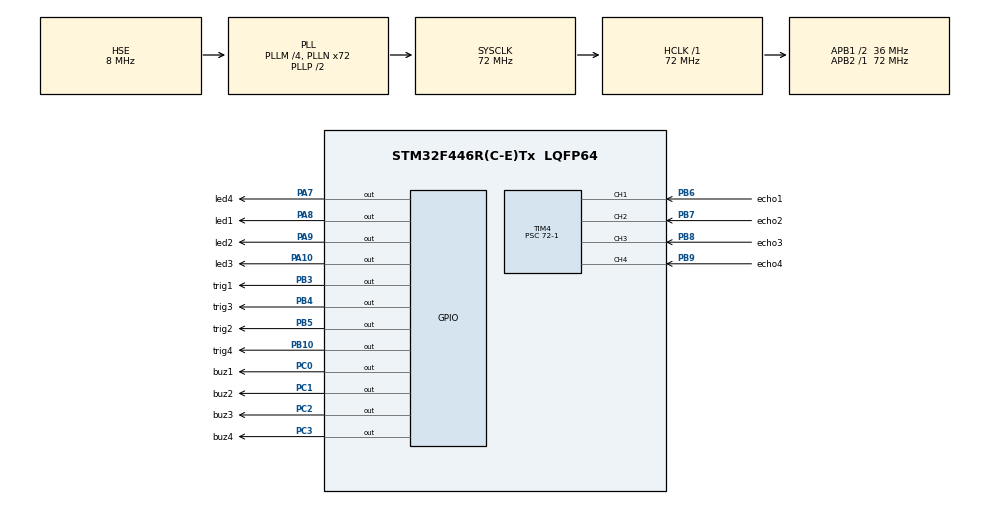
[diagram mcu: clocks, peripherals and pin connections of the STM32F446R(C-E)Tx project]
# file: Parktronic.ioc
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Mcu.Family=STM32F4
Mcu.Name=STM32F446R(C-E)Tx
Mcu.Package=LQFP64
NVIC.PriorityGroup=NVIC_PRIORITYGROUP_4
NVIC.TIM1_BRK_TIM9_IRQn=true\:0\:0\:false\:false\:true\:true\:true
NVIC.TIM1_CC_IRQn=true\:0\:0\:false\:false\:true\:true\:true
NVIC.TIM1_TRG_COM_TIM11_IRQn=true\:0\:0\:false\:false\:true\:true\:true
NVIC.TIM1_UP_TIM10_IRQn=true\:0\:0\:false\:false\:true\:true\:true
NVIC.TIM4_IRQn=true\:0\:0\:false\:false\:true\:true\:true
PA10.GPIO_Label=led3
PA10.GPIO_PuPd=GPIO_PULLUP
PA10.GPIO_Speed=GPIO_SPEED_FREQ_VERY_HIGH
PA10.PinState=GPIO_PIN_RESET
PA10.Signal=GPIO_Output
PA7.GPIO_Label=led4
PA7.GPIO_PuPd=GPIO_PULLUP
PA7.GPIO_Speed=GPIO_SPEED_FREQ_VERY_HIGH
PA7.PinState=GPIO_PIN_RESET
PA7.Signal=GPIO_Output
PA8.GPIO_Label=led1
PA8.GPIO_PuPd=GPIO_PULLUP
PA8.GPIO_Speed=GPIO_SPEED_FREQ_VERY_HIGH
PA8.PinState=GPIO_PIN_RESET
PA8.Signal=GPIO_Output
PA9.GPIO_Label=led2
PA9.GPIO_PuPd=GPIO_PULLUP
PA9.GPIO_Speed=GPIO_SPEED_FREQ_VERY_HIGH
PA9.PinState=GPIO_PIN_RESET
PA9.Signal=GPIO_Output
PB10.GPIO_Label=trig4
PB10.Signal=GPIO_Output
PB3.GPIO_Label=trig1
PB3.Signal=GPIO_Output
PB4.GPIO_Label=trig3
PB4.Signal=GPIO_Output
PB5.GPIO_Label=trig2
PB5.Signal=GPIO_Output
PB6.GPIO_Label=echo1
PB6.Signal=S_TIM4_CH1
PB7.GPIO_Label=echo2
PB7.Signal=S_TIM4_CH2
PB8.GPIO_Label=echo3
PB8.Signal=S_TIM4_CH3
PB9.GPIO_Label=echo4
PB9.Signal=S_TIM4_CH4
PC0.GPIO_Label=buz1
PC0.GPIO_PuPd=GPIO_PULLUP
PC0.PinState=GPIO_PIN_SET
PC0.Signal=GPIO_Output
PC1.GPIO_Label=buz2
PC1.GPIO_PuPd=GPIO_PULLUP
PC1.PinState=GPIO_PIN_SET
PC1.Signal=GPIO_Output
PC2.GPIO_Label=buz3
PC2.GPIO_PuPd=GPIO_PULLUP
PC2.PinState=GPIO_PIN_SET
PC2.Signal=GPIO_Output
PC3.GPIO_Label=buz4
PC3.GPIO_PuPd=GPIO_PULLUP
PC3.PinState=GPIO_PIN_SET
PC3.Signal=GPIO_Output
PH0-OSC_IN.Mode=HSE-External-Oscillator
PH0-OSC_IN.Signal=RCC_OSC_IN
PH1-OSC_OUT.Mode=HSE-External-Oscillator
PH1-OSC_OUT.Signal=RCC_OSC_OUT
ProjectManager.HeapSize=0x200
ProjectManager.StackSize=0x400
ProjectManager.TargetToolchain=TrueSTUDIO
RCC.AHBFreq_Value=72000000
RCC.APB1CLKDivider=RCC_HCLK_DIV2
RCC.APB1Freq_Value=36000000
RCC.APB1TimFreq_Value=72000000
RCC.APB2Freq_Value=72000000
RCC.APB2TimFreq_Value=72000000
RCC.CortexFreq_Value=72000000
RCC.HCLKFreq_Value=72000000
RCC.HSE_VALUE=8000000
RCC.PLLM=4
RCC.PLLN=72
RCC.PLLSourceVirtual=RCC_PLLSOURCE_HSE
RCC.SYSCLKFreq_VALUE=72000000
RCC.SYSCLKSource=RCC_SYSCLKSOURCE_PLLCLK
RCC.USBFreq_Value=72000000
RCC.VCOOutputFreq_Value=144000000
SH.S_TIM4_CH1.0=TIM4_CH1,Input_Capture1_from_TI1
SH.S_TIM4_CH2.0=TIM4_CH2,Input_Capture2_from_TI2
SH.S_TIM4_CH3.0=TIM4_CH3,Input_Capture3_from_TI3
SH.S_TIM4_CH4.0=TIM4_CH4,Input_Capture4_from_TI4
TIM1.Period=100-1
TIM1.Prescaler=8-1
TIM4.Channel-Input_Capture1_from_TI1=TIM_CHANNEL_1
TIM4.Channel-Input_Capture2_from_TI2=TIM_CHANNEL_2
TIM4.Channel-Input_Capture3_from_TI3=TIM_CHANNEL_3
TIM4.Channel-Input_Capture4_from_TI4=TIM_CHANNEL_4
TIM4.ICFilter_CH2=0
TIM4.ICFilter_CH3=0
TIM4.ICFilter_CH4=0
TIM4.Prescaler=72-1
VP_TIM1_VS_ClockSourceINT.Mode=Internal
board=custom

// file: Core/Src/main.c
/* USER CODE BEGIN Header */
/**
 ******************************************************************************
 * @file           : main.c
 * @brief          : Main program body
 ******************************************************************************
 * @attention
 *
 * <h2><center>&copy; Copyright (c) 2021 STMicroelectronics.
 * All rights reserved.</center></h2>
 *
 * This software component is licensed by ST under BSD 3-Clause license,
 * the "License"; You may not use this file except in compliance with the
 * License. You may obtain a copy of the License at:
 *                        opensource.org/licenses/BSD-3-Clause
 *
 ******************************************************************************
 */
/* USER CODE END Header */
#include "main.h"
#include "tim.h"
#include "gpio.h"

/* USER CODE BEGIN PD */
#define COUNT_PLACE 4
#define PLACE_FREE  4
#define TIME        1000
/* USER CODE END PD */

/* USER CODE BEGIN PV */
uint8_t TriggerEdge = 0;
uint8_t TimeEllapsed_Flag = 0;
uint8_t CaptureIsOver_Flag = 0;

uint32_t Difference = 0;
uint32_t IC_Val1 = 0;
uint32_t IC_Val2 = 0;

uint8_t flag[4] = {0,0,0,0};

uint64_t tim_channal[4] = {TIM_CHANNEL_1, TIM_CHANNEL_2, TIM_CHANNEL_3, TIM_CHANNEL_4};

/* USER CODE END PV */

void SystemClock_Config(void);
/* USER CODE BEGIN PFP */
void Measure_Distance(uint32_t Distance_cm[]);
void write_handler();
/* USER CODE END PFP */

int main(void)
{
  /* USER CODE BEGIN 1 */
	uint32_t Distance[4] = {0};
  /* USER CODE END 1 */

  /* MCU Configuration--------------------------------------------------------*/

  /* Reset of all peripherals, Initializes the Flash interface and the Systick. */
  HAL_Init();

  /* Configure the system clock */
  SystemClock_Config();

  /* Initialize all configured peripherals */
  MX_GPIO_Init();
  MX_TIM1_Init();
  MX_TIM4_Init();

  /* Infinite loop */
	while (1)
	{

    /* USER CODE BEGIN 3 */
		Measure_Distance(Distance);
		if (PLACE_FREE > Distance[0] )
		{
			// busy
			HAL_GPIO_WritePin(GPIOA, led1_Pin, GPIO_PIN_RESET); // led off
			if (flag[0] == 1)
			{
				HAL_GPIO_WritePin(GPIOC, buz1_Pin, GPIO_PIN_RESET); // buzzer on
				HAL_Delay(TIME);
				HAL_GPIO_WritePin(GPIOC, buz1_Pin, GPIO_PIN_SET); // buzzer off
			}
			flag[0] = 0;
		}
		else
		{
			// free
			HAL_GPIO_WritePin(GPIOA, led1_Pin, GPIO_PIN_SET); // led on
			flag[0] = 1;
		}

		if (PLACE_FREE > Distance[1] )
		{
			// busy
			HAL_GPIO_WritePin(GPIOA, led2_Pin, GPIO_PIN_RESET); // led off
			if (flag[1] == 1)
			{
				HAL_GPIO_WritePin(GPIOC, buz2_Pin, GPIO_PIN_RESET); // buzzer on
				HAL_Delay(TIME);
				HAL_GPIO_WritePin(GPIOC, buz2_Pin, GPIO_PIN_SET); // buzzer off
			}
			flag[1] = 0;
		}
		else
		{
			// free
			HAL_GPIO_WritePin(GPIOA, led2_Pin, GPIO_PIN_SET); // led on
			flag[1] = 1;
		}

		if (PLACE_FREE > Distance[2] )
		{
			// busy
			HAL_GPIO_WritePin(GPIOA, led3_Pin, GPIO_PIN_RESET); // led off
			if (flag[2] == 1)
			{
				HAL_GPIO_WritePin(GPIOC, buz3_Pin, GPIO_PIN_RESET); // buzzer on
				HAL_Delay(TIME);
				HAL_GPIO_WritePin(GPIOC, buz3_Pin, GPIO_PIN_SET); // buzzer off
			}
			flag[2] = 0;
		}
		else
		{
			// free
			HAL_GPIO_WritePin(GPIOA, led3_Pin, GPIO_PIN_SET); // led on
			flag[2] = 1;
		}

		if (PLACE_FREE > Distance[3] )
		{
			// busy
			HAL_GPIO_WritePin(GPIOA, led4_Pin, GPIO_PIN_RESET); // led off
			if (flag[3] == 1)
			{
				HAL_GPIO_WritePin(GPIOC, buz4_Pin, GPIO_PIN_RESET); // buzzer on
				HAL_Delay(TIME);
				HAL_GPIO_WritePin(GPIOC, buz4_Pin, GPIO_PIN_SET); // buzzer off
			}
			flag[3] = 0;

		}
		else
		{
			// free
			HAL_GPIO_WritePin(GPIOA, led4_Pin, GPIO_PIN_SET); // led on
			flag[3] = 1;
		}

	}
  /* USER CODE END 3 */
}

void SystemClock_Config(void)
{
  RCC_OscInitTypeDef RCC_OscInitStruct = {0};
  RCC_ClkInitTypeDef RCC_ClkInitStruct = {0};

  /** Configure the main internal regulator output voltage
  */
  __HAL_RCC_PWR_CLK_ENABLE();
  __HAL_PWR_VOLTAGESCALING_CONFIG(PWR_REGULATOR_VOLTAGE_SCALE3);
  /** Initializes the RCC Oscillators according to the specified parameters
  * in the RCC_OscInitTypeDef structure.
  */
  RCC_OscInitStruct.OscillatorType = RCC_OSCILLATORTYPE_HSE;
  RCC_OscInitStruct.HSEState = RCC_HSE_ON;
  RCC_OscInitStruct.PLL.PLLState = RCC_PLL_ON;
  RCC_OscInitStruct.PLL.PLLSource = RCC_PLLSOURCE_HSE;
  RCC_OscInitStruct.PLL.PLLM = 4;
  RCC_OscInitStruct.PLL.PLLN = 72;
  RCC_OscInitStruct.PLL.PLLP = RCC_PLLP_DIV2;
  RCC_OscInitStruct.PLL.PLLQ = 2;
  RCC_OscInitStruct.PLL.PLLR = 2;
  if (HAL_RCC_OscConfig(&RCC_OscInitStruct) != HAL_OK)
  {
    Error_Handler();
  }
  /** Initializes the CPU, AHB and APB buses clocks
  */
  RCC_ClkInitStruct.ClockType = RCC_CLOCKTYPE_HCLK|RCC_CLOCKTYPE_SYSCLK
                              |RCC_CLOCKTYPE_PCLK1|RCC_CLOCKTYPE_PCLK2;
  RCC_ClkInitStruct.SYSCLKSource = RCC_SYSCLKSOURCE_PLLCLK;
  RCC_ClkInitStruct.AHBCLKDivider = RCC_SYSCLK_DIV1;
  RCC_ClkInitStruct.APB1CLKDivider = RCC_HCLK_DIV2;
  RCC_ClkInitStruct.APB2CLKDivider = RCC_HCLK_DIV1;

  if (HAL_RCC_ClockConfig(&RCC_ClkInitStruct, FLASH_LATENCY_2) != HAL_OK)
  {
    Error_Handler();
  }
}

/* USER CODE BEGIN 4 */
void Measure_Distance(uint32_t Distance_cm[])
{
	/*--------------------------1------------------------*/
	HAL_GPIO_WritePin(GPIOB, trig1_Pin, GPIO_PIN_SET);
	HAL_TIM_Base_Start_IT(&htim1); // 10us

	while (!TimeEllapsed_Flag)
	{
	}

	__HAL_TIM_SET_COUNTER(&htim4, 0);
	HAL_TIM_IC_Start_IT(&htim4, TIM_CHANNEL_1);

	TimeEllapsed_Flag = 0;
	HAL_GPIO_WritePin(GPIOB, trig1_Pin, GPIO_PIN_RESET);

	while (!CaptureIsOver_Flag)
	{
	}

	CaptureIsOver_Flag = 0;

	Distance_cm[0] = Difference / 58;
	HAL_Delay(20);

	/*--------------------------2------------------------*/

	HAL_GPIO_WritePin(GPIOB, trig2_Pin, GPIO_PIN_SET);
	HAL_TIM_Base_Start_IT(&htim1); // 10us

	while (!TimeEllapsed_Flag)
	{
	}

	__HAL_TIM_SET_COUNTER(&htim4, 0);
	HAL_TIM_IC_Start_IT(&htim4, TIM_CHANNEL_2);

	TimeEllapsed_Flag = 0;
	HAL_GPIO_WritePin(GPIOB, trig2_Pin, GPIO_PIN_RESET);

	while (!CaptureIsOver_Flag)
	{
	}

	CaptureIsOver_Flag = 0;

	Distance_cm[1] = Difference / 58;
	HAL_Delay(20);

	/*--------------------------3------------------------*/

	HAL_GPIO_WritePin(GPIOB, trig3_Pin, GPIO_PIN_SET);
	HAL_TIM_Base_Start_IT(&htim1); // 10us

	while (!TimeEllapsed_Flag)
	{
	}

	__HAL_TIM_SET_COUNTER(&htim4, 0);
	HAL_TIM_IC_Start_IT(&htim4, TIM_CHANNEL_3);

	TimeEllapsed_Flag = 0;
	HAL_GPIO_WritePin(GPIOB, trig3_Pin, GPIO_PIN_RESET);

	while (!CaptureIsOver_Flag)
	{
	}

	CaptureIsOver_Flag = 0;

	Distance_cm[2] = Difference / 58;
	HAL_Delay(20);

	/*--------------------------4------------------------*/

	HAL_GPIO_WritePin(GPIOB, trig4_Pin, GPIO_PIN_SET);
	HAL_TIM_Base_Start_IT(&htim1); // 10us

	while (!TimeEllapsed_Flag)
	{
	}

	__HAL_TIM_SET_COUNTER(&htim4, 0);
	HAL_TIM_IC_Start_IT(&htim4, TIM_CHANNEL_4);

	TimeEllapsed_Flag = 0;
	HAL_GPIO_WritePin(GPIOB, trig4_Pin, GPIO_PIN_RESET);

	while (!CaptureIsOver_Flag)
	{
	}

	CaptureIsOver_Flag = 0;

	Distance_cm[3] = Difference / 58;
	HAL_Delay(20);
}

void write_handler (uint64_t tim_channel)
{
	if (TriggerEdge == 0)
	{
		IC_Val1 = 0;
		IC_Val1 = HAL_TIM_ReadCapturedValue(&htim4, tim_channel);
		TriggerEdge = 1;

		__HAL_TIM_SET_CAPTUREPOLARITY(&htim4, tim_channel,
				TIM_INPUTCHANNELPOLARITY_FALLING);
	}
	else
	{
		IC_Val2 = 0;
		IC_Val2 = HAL_TIM_ReadCapturedValue(&htim4, tim_channel);
		TriggerEdge = 0;

		if (IC_Val2 > IC_Val1)
			Difference = IC_Val2 - IC_Val1;
		else
			Error_Handler();

		__HAL_TIM_SET_COUNTER(&htim4, 0);
		__HAL_TIM_SET_CAPTUREPOLARITY(&htim4, tim_channel,
				TIM_INPUTCHANNELPOLARITY_RISING);

		HAL_TIM_IC_Stop_IT(&htim4, tim_channel);

		CaptureIsOver_Flag = 1;
	}
}
void HAL_TIM_IC_CaptureCallback(TIM_HandleTypeDef *htim)
{
	//	UNUSED(htim);

	if (htim->Instance == TIM4)
	{
		if (htim->Channel == HAL_TIM_ACTIVE_CHANNEL_1)
		{
			write_handler(tim_channal[0]);
		}
		if (htim->Channel == HAL_TIM_ACTIVE_CHANNEL_2)
		{
			write_handler(tim_channal[1]);
		}
		if (htim->Channel == HAL_TIM_ACTIVE_CHANNEL_3)
		{
			write_handler(tim_channal[2]);
		}
		if (htim->Channel == HAL_TIM_ACTIVE_CHANNEL_4)
		{
			write_handler(tim_channal[3]);
		}
	}
}
void HAL_TIM_PeriodElapsedCallback(TIM_HandleTypeDef *htim)
{
	UNUSED(htim);

	if (htim->Instance == TIM1)
	{
		HAL_TIM_Base_Stop_IT(htim);
		__HAL_TIM_SET_COUNTER(htim, 0);
		TimeEllapsed_Flag = 1;
	}
}
/* USER CODE END 4 */

void Error_Handler(void)
{
	__disable_irq();
	while (1)
	{
	}
}

/************************ (C) COPYRIGHT STMicroelectronics *****END OF FILE****/
